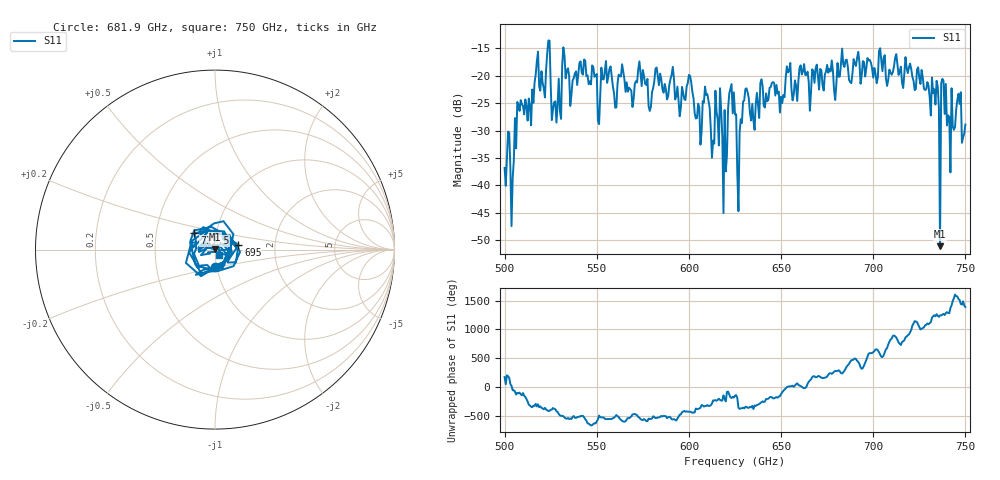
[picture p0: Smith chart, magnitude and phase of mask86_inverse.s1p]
!Created with skrf (http://scikit-rf.org).
# GHz S MA R 50.0
!freq magS11 angS11
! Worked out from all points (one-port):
!   401 points, 500 GHz to 750 GHz, reference 50 ohm
!   lowest |S11| = -51.1 dB at 736.2 GHz (marker M1), VSWR 1.01, Z = 49.7 + j0.0846 ohm
!   |S11| at or under -10 dB: start of sweep to end of sweep
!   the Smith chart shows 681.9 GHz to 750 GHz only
!   S11 on the Smith chart (normalised r, x): 681.9 GHz: 0.98, -0.20; 695 GHz: 1.30, +0.07; 717.5 GHz: 0.78, +0.15; 750 GHz: 1.04, -0.06
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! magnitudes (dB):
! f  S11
! 500 GHz  -36.8
! 504.4 GHz  -38.7
! 508.1 GHz  -26.4
! 513.1 GHz  -24.2
! 517.5 GHz  -17.4
! 523.8 GHz  -13.6
! 526.9 GHz  -24.8
! 531.2 GHz  -18.0
! 562.5 GHz  -20.1
! 593.8 GHz  -22.0
! 610 GHz  -23.4
! 619.4 GHz  -26.3
! 622.5 GHz  -22.4
! 625 GHz  -27.1
! 627.5 GHz  -30.3
! 630.6 GHz  -22.4
! 634.4 GHz  -25.1
! 656.2 GHz  -24.5
! 681.9 GHz  -20.1
! 687.5 GHz  -21.2
! 695 GHz  -17.5
! 717.5 GHz  -16.6
! 718.8 GHz  -19.5
! 736.2 GHz  -51.1
! 738.1 GHz  -20.9
! 740.6 GHz  -27.2
! 746.2 GHz  -23.3
! 750 GHz  -28.9
